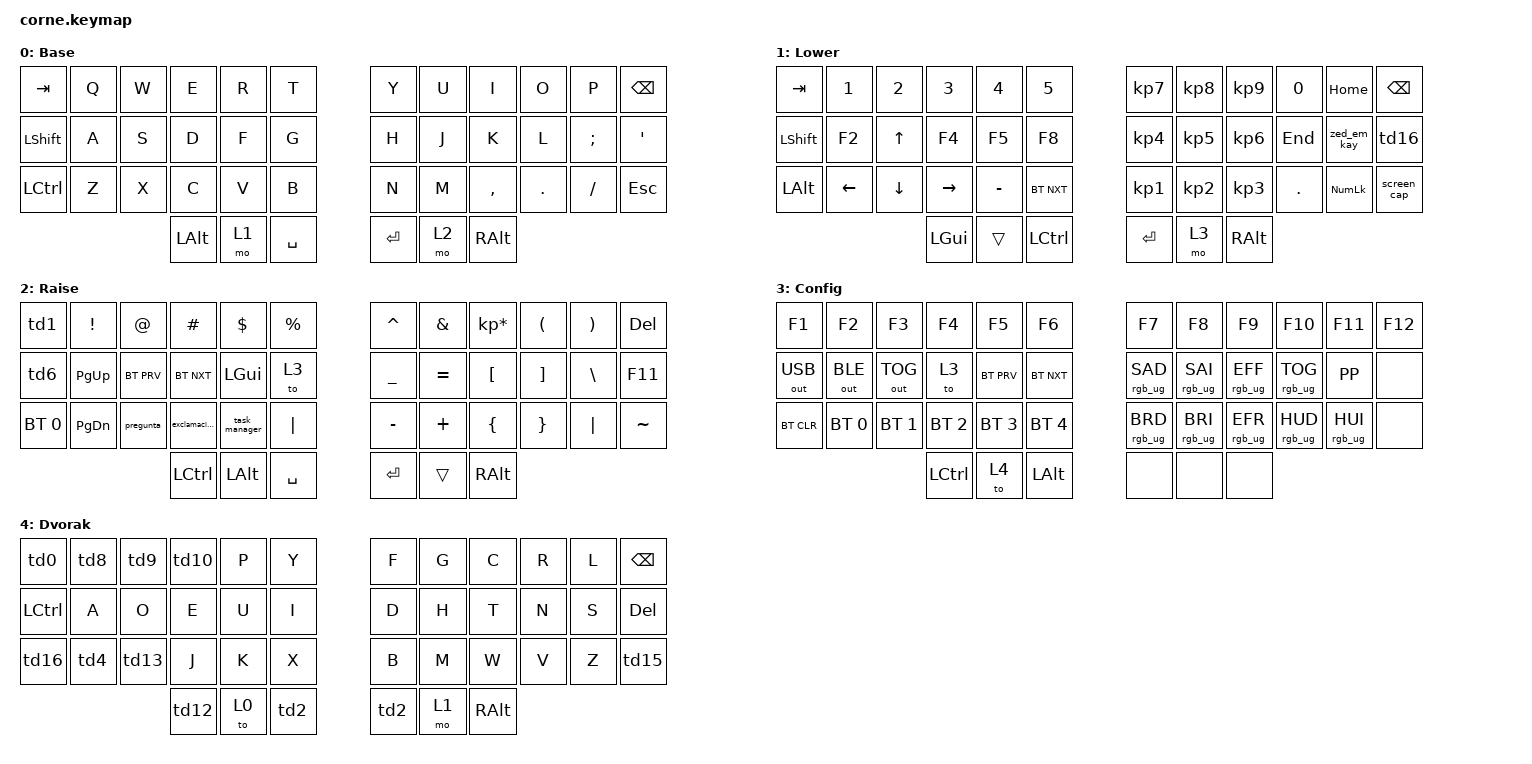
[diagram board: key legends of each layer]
/*
 * Copyright (c) 2020 The ZMK Contributors
 *
 * SPDX-License-Identifier: MIT
 *
 * Para la ñ es con Lower lef alt + 164 ᕕ( ᐛ )ᕗ
 * 
 */

#include <behaviors.dtsi>
#include <dt-bindings/zmk/keys.h>
#include <dt-bindings/zmk/bt.h>
#include <dt-bindings/zmk/outputs.h>

#define HOST_OS 2  // set to 2 for macOS/Windows-Alt-Codes, default is 0 (Windows)
#include "helper.h"
#include "spanish.dtsi"


#include <dt-bindings/zmk/ext_power.h>
#include <dt-bindings/zmk/rgb.h>

#include <dt-bindings/led/led.h>


// TAP_DANCE settings
#define TAP_SPEED 200

// MACROS to make the the code easier to read
// include name or reference in keymap
// Format: 
//      name        reference  key1 key2 
#define TD_TAB      &td0    // TAB ESC
#define TD_CAPLOCK  &td1    // LSHIFT CAPSLOCK 
#define TD_SPC      &td2    // SPACE ENTER 
#define TD_SLSH     &td3    // SLASH QMARK
#define TD_QUOTE    &td4    // QUOTE DOUBLE_QUOTES
#define TD_EQL      &td5    // EQUAL PLUS
#define TD_BSLS     &td6    // BACKSLASH PIPE 
#define TD_MINUS    &td7    // MINUS UNDERSCORE
#define TD_SCLN     &td8    // SEMICOLON COLON 
#define TD_COMM     &td9    // COMMA LESS_THAN 
#define TD_DOT      &td10   // PERIOD GREATER_THAN 
#define TD_BACKF    &td11   // GRAVE TILDE
#define TD_ALT      &td12   // LALT GUI
#define TD_ARR      &td13   // Q AT (@)
#define TD_ATCAT    &td14   // AT CARET 
#define TD_TAW      &td15   // TAB LWIN
#define TD_SCLOCK   &td16   // (S)LSHIFT CAPSLOCK (Sticky shift)

// include &name in keymap to use
// FORMAT
//   natural --> (on shift)
//   number --> symbols | number code --> symbol code 
// one_lpar    1 --> (  | N1 --> LPAR
// two_par     2 --> )  | N2 --> RPAR
// three_rbrc  3 --> }  | N3 --> RBRC
// four_pl     4 --> ]  | N4 --> PLUS
// five_lbrc   5 --> {  | N5 --> RSFT
// six_rbkt    6 --> ]  | N6 --> RBKT
// seven_lbkt  7 --> [  | N7 --> LBKT
// eight_exlm  8 --> !  | N8 --> EXCL
// nine_equal  9 --> =  | N9 --> EQUAL
// zero_s      0 --> *  | N0 --> STAR


&pinctrl {
    spi3_default: spi3_default {
        group1 {
            psels = <NRF_PSEL(SPIM_MOSI, 0, 6)>;
        };
    };

    spi3_sleep: spi3_sleep {
        group1 {
            psels = <NRF_PSEL(SPIM_MOSI, 0, 6)>;
            low-power-enable;
        };
    };
};

&spi3 {
  compatible = "nordic,nrf-spim";
  status = "okay";

  pinctrl-0 = <&spi3_default>;
  pinctrl-1 = <&spi3_sleep>;
  pinctrl-names = "default", "sleep";

  led_strip: ws2812@0 {
    compatible = "worldsemi,ws2812-spi";
    label = "WS2812";

    /* SPI */
    reg = <0>; /* ignored, but necessary for SPI bindings */
    spi-max-frequency = <4000000>;

    /* WS2812 */
    chain-length = <27>; /* number of LEDs */
    spi-one-frame = <0x70>;
    spi-zero-frame = <0x40>;
    color-mapping = <LED_COLOR_ID_GREEN LED_COLOR_ID_RED LED_COLOR_ID_BLUE>;
  };
};

/ {
	chosen {
		zmk,underglow = &led_strip;

	};
};

/ {
    macros {
        zed_em_kay: zed_em_kay {
            label = "ZM_zed_em_kay";
            compatible = "zmk,behavior-macro";
            #binding-cells = <0>;
            bindings
                = <&macro_press &kp LALT>
                , <&macro_tap &kp KP_NUMBER_1 &kp KP_NUMBER_6 &kp KP_NUMBER_4>
                , <&macro_release &kp LALT>
                ;
        };

        pregunta: pregunta {
            label = "Pregunta";
            compatible = "zmk,behavior-macro";
            #binding-cells = <0>;
            bindings
                = <&macro_press &kp LALT>
                , <&macro_tap &kp KP_NUMBER_1 &kp KP_NUMBER_6 &kp KP_NUMBER_8>
                , <&macro_release &kp LALT>
                ;
        };
        exclamacion: exclamacion {
            label = "Exclamacion";
            compatible = "zmk,behavior-macro";
            #binding-cells = <0>;
            bindings
                = <&macro_press &kp LALT>
                , <&macro_tap &kp KP_NUMBER_1 &kp KP_NUMBER_7 &kp KP_NUMBER_3>
                , <&macro_release &kp LALT>
                ;
        };

        screen_cap: screen_cap {
            label = "Screen_Cap";
            compatible = "zmk,behavior-macro";
            #binding-cells = <0>;
            bindings
                = <&macro_press &kp LGUI &kp LSHFT &kp S>
                , <&macro_release &kp LGUI &kp LSHFT &kp S>
                ;
        };

        task_manager: task_manager {
            label = "Task_Manager";
            compatible = "zmk,behavior-macro";
            #binding-cells = <0>;
            bindings
                = <&macro_press &kp LCTRL &kp LALT &kp DEL>
                , <&macro_release &kp LCTRL &kp LALT &kp DEL>
                ;
        };
    };


    behaviors{  
        td0: tap_dance_0 {
            compatible = "zmk,behavior-tap-dance";
            label = "TAP_DANCE_0"; 
            #binding-cells = <0>; 
            tapping-term-ms = <TAP_SPEED>; 
            bindings = <&kp TAB>, <&kp ESC>;

            }; 
        td1: tap_dance_1 {
            compatible = "zmk,behavior-tap-dance";
            label = "TAP_DANCE_1"; 
            #binding-cells = <0>; 
            tapping-term-ms = <TAP_SPEED>; 
            bindings = <&kp LSHIFT>, <&kp CAPSLOCK>;
            }; 
        td2: tap_dance_2 {
            compatible = "zmk,behavior-tap-dance";
            label = "TAP_DANCE_2"; 
            #binding-cells = <0>; 
            tapping-term-ms = <TAP_SPEED>; 
            bindings = <&kp SPACE>, <&kp ENTER>;
            }; 
        td3: tap_dance_3 {
            compatible = "zmk,behavior-tap-dance";
            label = "TAP_DANCE_3"; 
            #binding-cells = <0>; 
            tapping-term-ms = <TAP_SPEED>; 
            bindings = <&kp SLASH>, <&kp QMARK>;
            }; 
        td4: tap_dance_4 {
            compatible = "zmk,behavior-tap-dance";
            label = "TAP_DANCE_4"; 
            #binding-cells = <0>; 
            tapping-term-ms = <TAP_SPEED>; 
            bindings = <&kp SINGLE_QUOTE>, <&kp DOUBLE_QUOTES>;
            }; 
        td5: tap_dance_5 {
            compatible = "zmk,behavior-tap-dance";
            label = "TAP_DANCE_5"; 
            #binding-cells = <0>; 
            tapping-term-ms = <TAP_SPEED>; 
            bindings = <&kp EQUAL>, <&kp PLUS>;
            }; 
        td6: tap_dance_6 {
            compatible = "zmk,behavior-tap-dance";
            label = "TAP_DANCE_6"; 
            #binding-cells = <0>; 
            tapping-term-ms = <TAP_SPEED>; 
            bindings = <&kp BACKSLASH>, <&kp PIPE>;
            }; 
        td7: tap_dance_7 {
            compatible = "zmk,behavior-tap-dance";
            label = "TAP_DANCE_7"; 
            #binding-cells = <0>; 
            tapping-term-ms = <TAP_SPEED>; 
            bindings = <&kp MINUS>, <&kp UNDERSCORE>;
            }; 
        td8: tap_dance_8 {
            compatible = "zmk,behavior-tap-dance";
            label = "TAP_DANCE_8"; 
            #binding-cells = <0>; 
            tapping-term-ms = <TAP_SPEED>; 
            bindings = <&kp SEMICOLON>, <&kp COLON>;
            }; 
        td9: tap_dance_9 {
            compatible = "zmk,behavior-tap-dance";
            label = "TAP_DANCE_9"; 
            #binding-cells = <0>; 
            tapping-term-ms = <TAP_SPEED>; 
            bindings = <&kp COMMA>, <&kp LESS_THAN>;
            }; 
        td10: tap_dance_10 {
            compatible = "zmk,behavior-tap-dance";
            label = "TAP_DANCE_10"; 
            #binding-cells = <0>; 
            tapping-term-ms = <TAP_SPEED>; 
            bindings = <&kp PERIOD>, <&kp GREATER_THAN>;
            }; 
        td11: tap_dance_11 {
            compatible = "zmk,behavior-tap-dance";
            label = "TAP_DANCE_11"; 
            #binding-cells = <0>; 
            tapping-term-ms = <TAP_SPEED>; 
            bindings = <&kp GRAVE>, <&kp TILDE>;
            };            

        td12: tap_dance_12 {
            compatible = "zmk,behavior-tap-dance";
            label = "TAP_DANCE_12"; 
            #binding-cells = <0>; 
            tapping-term-ms = <TAP_SPEED>; 
            bindings = <&kp LALT>, <&kp GUI>;
            };
        td13: tap_dance_13 {
            compatible = "zmk,behavior-tap-dance";
            label = "TAP_DANCE_13"; 
            #binding-cells = <0>; 
            tapping-term-ms = <TAP_SPEED>; 
            bindings = <&kp Q>, <&kp AT>;
            };
        td14: tap_dance_14 {
            compatible = "zmk,behavior-tap-dance";
            label = "TAP_DANCE_14"; 
            #binding-cells = <0>; 
            tapping-term-ms = <TAP_SPEED>; 
            bindings = <&kp AT>, <&kp CARET>;
            };
        td15: tap_dance_15 {
            compatible = "zmk,behavior-tap-dance";
            label = "TAP_DANCE_15"; 
            #binding-cells = <0>; 
            tapping-term-ms = <TAP_SPEED>; 
            bindings = <&kp TAB>, <&kp LWIN>;
            };
        td16: tap_dance_16 {
            compatible = "zmk,behavior-tap-dance";
            label = "TAP_DANCE_16"; 
            #binding-cells = <0>; 
            tapping-term-ms = <TAP_SPEED>; 
            bindings = <&sk LSHIFT>, <&kp CAPSLOCK>;
            }; 

        // create the shifts of dvorak 
        seven_lbkt: seven_lbkt{ 
                compatible = "zmk,behavior-mod-morph";
                label="SEVEN_LBKT";
                #binding-cells = <0>;
                bindings = <&kp N7>, <&kp LBKT>;  
                mods=<(MOD_LSFT|MOD_RSFT)>;
            }; 
        five_lbrc: five_lbrc {
                compatible = "zmk,behavior-mod-morph";
                label="FIVE_LBRC";
                #binding-cells = <0>; 
                bindings = <&kp N5>,<&kp LBRC>;
                mods=<(MOD_LSFT|MOD_RSFT)>;
        };
        three_rbrc: three_rbrc {
                compatible = "zmk,behavior-mod-morph";
                label="THREE_RBRC";
                #binding-cells = <0>; 
                bindings = <&kp N3>,<&kp RBRC>;
                mods=<(MOD_LSFT|MOD_RSFT)>;
        };
        one_lpar: one_lpar {
                compatible = "zmk,behavior-mod-morph";
                label="ONE_LPAR";
                #binding-cells = <0>; 
                bindings = <&kp N1>,<&kp LPAR>;
                mods=<(MOD_LSFT|MOD_RSFT)>;
        };
        nine_equal: nine_equal {
                compatible = "zmk,behavior-mod-morph";
                label="nine_equal";
                #binding-cells = <0>; 
                bindings = <&kp N9>,    <&kp EQUAL>;
                mods=<(MOD_LSFT|MOD_RSFT)>;
        };
        zero_s: zero_star { 
                compatible = "zmk,behavior-mod-morph";
                label="ZERO_STAR";
                #binding-cells = <0>;
                bindings = <&kp N0>, <&kp STAR>;  
                mods=<(MOD_LSFT|MOD_RSFT)>;
            }; 
        two_par: two_paren {
                compatible = "zmk,behavior-mod-morph";
                label="TWO_PAR";
                #binding-cells = <0>; 
                bindings = <&kp N2>,<&kp RPAR>;
                mods=<(MOD_LSFT|MOD_RSFT)>;
        };
        four_pl: four_plus {
                compatible = "zmk,behavior-mod-morph";
                label="FOUR_PLUS";
                #binding-cells = <0>; 
                bindings = <&kp N4>,<&kp PLUS>;
                mods=<(MOD_LSFT|MOD_RSFT)>;
        };
        six_rbkt: six_rbkt {
                compatible = "zmk,behavior-mod-morph";
                label="six_rbkt";
                #binding-cells = <0>; 
                bindings = <&kp N6>,<&kp RBKT>;
                mods=<(MOD_LSFT|MOD_RSFT)>;
        };
        eight_exlm: eight_exlm {
                compatible = "zmk,behavior-mod-morph";
                label="EIGHT_EXLM";
                #binding-cells = <0>; 
                bindings = <&kp N8>,    <&kp EXCL>;
                mods=<(MOD_LSFT|MOD_RSFT)>;
        };
    };

    keymap {
        compatible = "zmk,keymap";

        Base {
            // --------------------------------------------------------------------------------
            // |  TAB |  Q  |  W  |  E  |  R  |  T  |   |  Y  |  U   |  I  |  O  |  P  | BKSP |
            // | SHFT |  A  |  S  |  D  |  F  |  G  |   |  H  |  J   |  K  |  L  |  ;  |  '   |
            // | CTRL |  Z  |  X  |  C  |  V  |  B  |   |  N  |  M   |  ,  |  .  |  /  | ESC  |
            //                    | GUI | LWR | SPC |   | ENT | RSE  | ALT |

            label = "Base";
            bindings = <
            &kp TAB     &kp Q   &kp W      &kp E   &kp R      &kp T            &kp Y   &kp U   &kp I      &kp O    &kp P     &kp BSPC
            &kp LSHFT   &kp A   &kp S      &kp D   &kp F      &kp G            &kp H   &kp J   &kp K      &kp L    &kp SEMI  &kp APOS
            &kp LCTRL   &kp Z   &kp X      &kp C   &kp V      &kp B            &kp N   &kp M   &kp COMMA  &kp DOT  &kp FSLH  &kp ESC
                                        &kp LALT   &mo 1  &kp SPACE            &kp RET  &mo 2   &kp RALT
                        >;
        };

        Lower {
            // --------------------------------------------------------------------------------------
            // |  ESC  |  1   |  2   |   3   |   4  |   5  |   |  7  |  8  |  9  |  0  | HOME | SCP |
            // | LSHFT | F2   |  up  |  F4   |  F5  |   6  |   |  4  |  5  |  6  | END |   ñ  | F10 |
            // | LALT  | left | down | right |  -   |  +   |   |  1  |  2  |  3  |  .  |  NL  | RSH |
            //                       | GUI   |      | SPC  |   | ENT |     | ALT |

            label = "Lower";
            bindings = <
            &kp TAB     &kp NUMBER_1   &kp NUMBER_2    &kp NUMBER_3    &kp NUMBER_4    &kp NUMBER_5        &kp KP_NUMBER_7   &kp KP_NUMBER_8    &kp KP_NUMBER_9    &kp NUMBER_0  &kp HOME        &kp BSPC
            &kp LSHFT   &kp F2         &kp UP          &kp F4          &kp F5          &kp F8              &kp KP_NUMBER_4   &kp KP_NUMBER_5    &kp KP_NUMBER_6    &kp END       &zed_em_kay     &td16
            &kp LALT    &kp LEFT       &kp DOWN        &kp RIGHT       &kp MINUS       &bt BT_NXT          &kp KP_NUMBER_1   &kp KP_NUMBER_2    &kp KP_NUMBER_3    &kp DOT       &kp KP_NUMLOCK  &screen_cap
                                       &kp LGUI        &trans          &kp LCTRL                           &kp RET           &mo 3              &kp RALT
            >;
        };

        Raise {
            // --------------------------------------------------------------------------------
            // |  BT0  |  !  |  "  |  £  |  $  |  %  |   |  ^  |  &  |  *  |  (  |  )  | BKSP |
            // |  BT1  | PgUp|     |     |     |     |   |  -  |  =  |  [  |  ]  |  #  |  F11 |
            // |  BT2  | PgDw|  ¿  |  ¡  | task| "|" |   |  _  |  +  |  {  |  }  | "~" |  ¬   |
            //                     | GUI |     | SPC |   | ENT |     | ALT |

            label = "Raise";
            bindings = <
            &td1                &kp EXCL      &kp AT       &kp HASH        &kp DLLR         &kp PRCNT        &kp CARET      &kp AMPS    &kp KP_MULTIPLY  &kp LPAR  &kp RPAR   &kp DEL
            &td6                &kp PG_UP     &bt BT_PRV   &bt BT_NXT      &kp LGUI         &to 3            &kp UNDER      &kp EQUAL   &kp LBKT         &kp RBKT  &kp BSLH   &kp F11
            &bt BT_SEL 0        &kp PG_DN     &pregunta    &exclamacion    &task_manager    &kp PIPE         &kp MINUS      &kp PLUS    &kp LBRC         &kp RBRC  &kp PIPE   &kp TILDE
                                                            &kp LCTRL      &kp LEFT_ALT     &kp SPACE        &kp RET        &trans      &kp RALT 
            >;
        };
        
        Config {
            // ------------------------------------------------------------------------------------------------------------
            // |  F1  |   F2   |   F3  |  F4   |  F5   |   F6  |       |   F7   |  F8   |   F9  |  F10  |   F11 |   F12   |
            // |OUT_USB|OUT_BLE|OUT_TOG|BT_CLR |BT_PRV | BT_NXT|       |RGBSAT- |RGBSAT+|       |CLICK_1| UP    |CLICK_2  |
            // |BT_CLR |BT_0   |BT_1   |BT_2   |BT_3   |BT_4   |       |RGBHUE- |RGBHUE+| RESET | LEFT  | DOWN  | RIGHT   |
            //                         |EP_ON  | EP_OFF|EP_TOG |       |RGBANI- |RGBANI+|   RGBTOG      |

            label = "Config";
            bindings = <
            &kp F1                &kp F2                &kp F3           &kp F4             &kp F5           &kp F6          &kp F7              &kp F8             &kp F9                 &kp F10              &kp F11           &kp F12
            &out OUT_USB    &out OUT_BLE          &out OUT_TOG            &to 3         &bt BT_PRV           &bt BT_NXT      &rgb_ug RGB_SAD     &rgb_ug RGB_SAI    &rgb_ug RGB_EFF        &rgb_ug RGB_TOG      &kp K_PP          &none
            &bt BT_CLR      &bt BT_SEL 0          &bt BT_SEL 1     &bt BT_SEL 2       &bt BT_SEL 3           &bt BT_SEL 4    &rgb_ug RGB_BRD     &rgb_ug RGB_BRI    &rgb_ug RGB_EFR        &rgb_ug RGB_HUD      &rgb_ug RGB_HUI   &none
                                                                      &kp LCTRL              &to 4           &kp LEFT_ALT    &none               &none              &none
            >;
        };

        Dvorak {
            // -----------------------------------------------------------------------------------------
            // |TAB:ESC   | ; : | , < | . > |  P  |  Y  |         | F   |  G   |  C  |  R  |  L  | BKSP |
            // | CTRL     |  A  |  O  |  E  |  U  |  I  |         |  D  |  H   |  T  |  N  |  S  |  DEL |
            // | LSFT:CAP |' "  | q @ | J   | K   |  X  |         |  B  |  M   |  W  |  V  |  Z  | TAB  |
            //                        | GUI | LWR | SPC |         | ENT | RSE  | ALT |
            label = "Dvorak";
                                    bindings = <
            TD_TAB     TD_SCLN  TD_COMM  TD_DOT &kp P &kp Y                   &kp F &kp G  &kp C     &kp R   &kp L    &kp BSPC
            &kp LCTRL  &kp A    &kp O    &kp E  &kp U &kp I                   &kp D &kp H  &kp T     &kp N   &kp S    &kp DEL
            TD_SCLOCK  TD_QUOTE TD_ARR   &kp J  &kp K &kp X                   &kp B &kp M  &kp W     &kp V   &kp Z    TD_TAW
                                      TD_ALT    &to 0 TD_SPC                  TD_SPC &mo 1 &kp RALT
                                    >;
        };
    };
};

//&nice_view_spi {
    //cs-gpios = <&pro_micro 0 GPIO_ACTIVE_HIGH>;
//};
 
